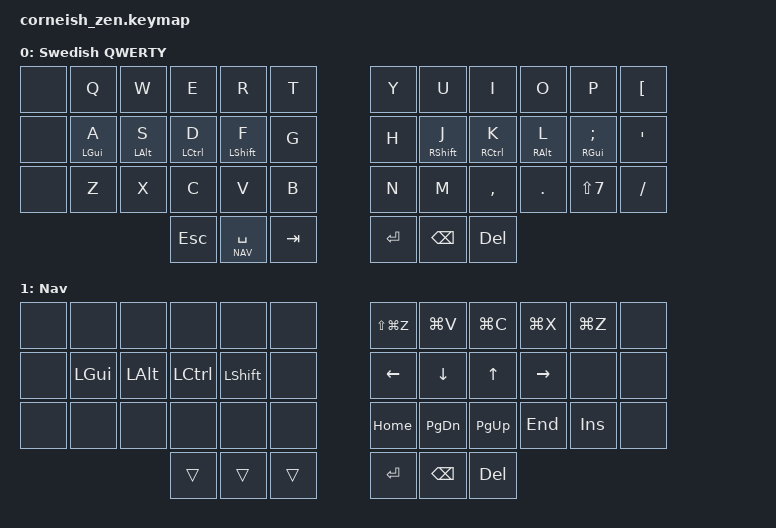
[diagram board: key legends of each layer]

#include <behaviors.dtsi>
#include <dt-bindings/zmk/keys.h>

#define NAV 1

/ {
    keymap {
        compatible = "zmk,keymap";

        default_layer {
            display-name = "Swedish QWERTY";

            bindings = <
                &none          &kp Q         &kp W         &kp E         &kp R         &kp T                     &kp Y         &kp U         &kp I         &kp O          &kp P          &kp LBKT
                &none          &mt LGUI A    &mt LALT S    &mt LCTRL D   &mt LSHFT F   &kp G                     &kp H         &mt RSHFT J   &mt RCTRL K   &mt RALT L     &mt RGUI SEMI  &kp SQT
                &none          &kp Z         &kp X         &kp C         &kp V         &kp B                     &kp N         &kp M         &kp COMMA     &kp DOT        &kp LS(N7)     &kp FSLH
                                                       &kp ESC       &lt NAV SPACE  &kp TAB       &kp RET       &kp BSPC      &kp DEL
            >;
        };

        nav_layer {
            display-name = "Nav";

            bindings = <
                &none          &none          &none          &none          &none          &none                     &kp LS(LG(Z)) &kp LG(V)     &kp LG(C)     &kp LG(X)      &kp LG(Z)      &none
                &none          &kp LGUI       &kp LALT       &kp LCTRL      &kp LSHFT      &none                     &kp LEFT      &kp DOWN      &kp UP        &kp RIGHT      &none          &none
                &none          &none          &none          &none          &none          &none                     &kp HOME      &kp PG_DN     &kp PG_UP     &kp END        &kp INS        &none
                                                       &trans        &trans         &trans        &kp RET       &kp BSPC      &kp DEL
            >;
        };
    };
};
